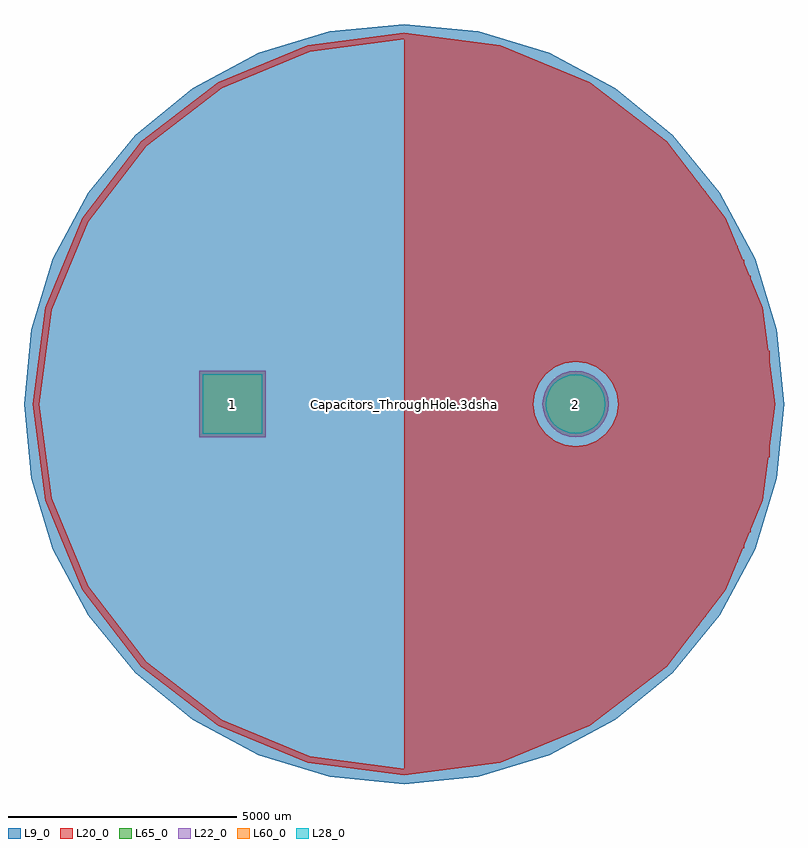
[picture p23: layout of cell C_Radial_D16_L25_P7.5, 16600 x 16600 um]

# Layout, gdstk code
import gdstk
lib = gdstk.Library(unit=1e-6, precision=1e-09)
def R(c, l, rs):  # rectangles x0, y0, x1, y1
    for r in rs: c.add(gdstk.rectangle(r[:2], r[2:], *l))
def P(c, l, *ps):  # polygons
    for p in ps: c.add(gdstk.Polygon(p, *l))
L9_0 = (9, 0)
L20_0 = (20, 0)
L22_0 = (22, 0)
L28_0 = (28, 0)
L60_0 = (60, 0)
L65_0 = (65, 0)

c_radial_d16_l25_p7_5 = lib.new_cell('C_Radial_D16_L25_P7.5')
P(c_radial_d16_l25_p7_5, L9_0, [(12050,0),(11890.518,1619.25),(11418.2,3176.272),(10651.198,4611.233),(9618.986,5868.986),(8361.233,6901.198),(6926.272,7668.2),(5369.25,8140.518),(3750,8300),(2130.75,8140.518),(573.728,7668.2),(-861.233,6901.198),(-2118.986,5868.986),(-3151.198,4611.233),(-3918.2,3176.272),(-4390.518,1619.25),(-4550,0),(-4390.518,-1619.25),(-3918.2,-3176.272),(-3151.198,-4611.233),(-2118.986,-5868.986),(-861.233,-6901.198),(573.728,-7668.2),(2130.75,-8140.518),(3750,-8300),(5369.25,-8140.518),(6926.272,-7668.2),(8361.233,-6901.198),(9618.986,-5868.986),(10651.198,-4611.233),(11418.2,-3176.272),(11890.518,-1619.25)])
R(c_radial_d16_l25_p7_5, L22_0, [(-725,-725,725,725)])
P(c_radial_d16_l25_p7_5, L22_0, [(8225,0),(8211.069,141.44),(8169.813,277.445),(8102.815,402.788),(8012.652,512.652),(7902.788,602.815),(7777.445,669.813),(7641.44,711.069),(7500,725),(7358.56,711.069),(7222.555,669.813),(7097.212,602.815),(6987.348,512.652),(6897.185,402.788),(6830.187,277.445),(6788.931,141.44),(6775,0),(6788.931,-141.44),(6830.187,-277.445),(6897.185,-402.788),(6987.348,-512.652),(7097.212,-602.815),(7222.555,-669.813),(7358.56,-711.069),(7500,-725),(7641.44,-711.069),(7777.445,-669.813),(7902.788,-602.815),(8012.652,-512.652),(8102.815,-402.788),(8169.813,-277.445),(8211.069,-141.44)])
R(c_radial_d16_l25_p7_5, L28_0, [(-650,-650,650,650)])
P(c_radial_d16_l25_p7_5, L28_0, [(8150,0),(8137.51,126.809),(8100.522,248.744),(8040.455,361.121),(7959.619,459.619),(7861.121,540.455),(7748.744,600.522),(7626.809,637.51),(7500,650),(7373.191,637.51),(7251.256,600.522),(7138.879,540.455),(7040.381,459.619),(6959.545,361.121),(6899.478,248.744),(6862.49,126.809),(6850,0),(6862.49,-126.809),(6899.478,-248.744),(6959.545,-361.121),(7040.381,-459.619),(7138.879,-540.455),(7251.256,-600.522),(7373.191,-637.51),(7500,-650),(7626.809,-637.51),(7748.744,-600.522),(7861.121,-540.455),(7959.619,-459.619),(8040.455,-361.121),(8100.522,-248.744),(8137.51,-126.809)])
R(c_radial_d16_l25_p7_5, L60_0, [(-650,-650,650,650)])
P(c_radial_d16_l25_p7_5, L60_0, [(8150,0),(8137.51,126.809),(8100.522,248.744),(8040.455,361.121),(7959.619,459.619),(7861.121,540.455),(7748.744,600.522),(7626.809,637.51),(7500,650),(7373.191,637.51),(7251.256,600.522),(7138.879,540.455),(7040.381,459.619),(6959.545,361.121),(6899.478,248.744),(6862.49,126.809),(6850,0),(6862.49,-126.809),(6899.478,-248.744),(6959.545,-361.121),(7040.381,-459.619),(7138.879,-540.455),(7251.256,-600.522),(7373.191,-637.51),(7500,-650),(7626.809,-637.51),(7748.744,-600.522),(7861.121,-540.455),(7959.619,-459.619),(8040.455,-361.121),(8100.522,-248.744),(8137.51,-126.809)])
R(c_radial_d16_l25_p7_5, L65_0, [(-725,-725,725,725)])
P(c_radial_d16_l25_p7_5, L65_0, [(8225,0),(8211.069,141.44),(8169.813,277.445),(8102.815,402.788),(8012.652,512.652),(7902.788,602.815),(7777.445,669.813),(7641.44,711.069),(7500,725),(7358.56,711.069),(7222.555,669.813),(7097.212,602.815),(6987.348,512.652),(6897.185,402.788),(6830.187,277.445),(6788.931,141.44),(6775,0),(6788.931,-141.44),(6830.187,-277.445),(6897.185,-402.788),(6987.348,-512.652),(7097.212,-602.815),(7222.555,-669.813),(7358.56,-711.069),(7500,-725),(7641.44,-711.069),(7777.445,-669.813),(7902.788,-602.815),(8012.652,-512.652),(8102.815,-402.788),(8169.813,-277.445),(8211.069,-141.44)])
c_radial_d16_l25_p7_5.add(gdstk.FlexPath([(3750,8037.5),(1669.742,7763.629),(-268.75,6960.679),(-1933.371,5683.371),(-3210.679,4018.75),(-4013.629,2080.258),(-4287.5,0),(-4013.629,-2080.258),(-3210.679,-4018.75),(-1933.371,-5683.371),(-268.75,-6960.679),(1669.742,-7763.629),(3750,-8037.5),(5830.258,-7763.629),(7768.75,-6960.679),(9433.371,-5683.371),(10710.679,-4018.75),(11513.629,-2080.258),(11787.5,0),(11513.629,2080.258),(10710.679,4018.75),(9433.371,5683.371),(7768.75,6960.679),(5830.258,7763.629),(3750,8037.5)], 149.998, ends="flush", simple_path=True, layer=20, datatype=0))  # L20_0
c_radial_d16_l25_p7_5.add(gdstk.FlexPath([(7500,1000),(7241.181,965.926),(7000,866.025),(6792.893,707.107),(6633.975,500),(6534.074,258.819),(6500,0),(6534.074,-258.819),(6633.975,-500),(6792.893,-707.107),(7000,-866.025),(7241.181,-965.926),(7500,-1000),(7758.819,-965.926),(8000,-866.025),(8207.107,-707.107),(8366.025,-500),(8465.926,-258.819),(8500,0),(8465.926,258.819),(8366.025,500),(8207.107,707.107),(8000,866.025),(7758.819,965.926),(7500,1000)], 149.998, ends="flush", simple_path=True, layer=20, datatype=0))  # L20_0
c_radial_d16_l25_p7_5.add(gdstk.FlexPath([(11665,1163),(11665,-1163)], 149.998, ends="flush", simple_path=True, layer=20, datatype=0))  # L20_0
c_radial_d16_l25_p7_5.add(gdstk.FlexPath([(11525,1884),(11525,-1884)], 149.998, ends="flush", simple_path=True, layer=20, datatype=0))  # L20_0
c_radial_d16_l25_p7_5.add(gdstk.FlexPath([(11385,2389),(11385,-2389)], 149.998, ends="flush", simple_path=True, layer=20, datatype=0))  # L20_0
c_radial_d16_l25_p7_5.add(gdstk.FlexPath([(11245,2797),(11245,-2797)], 149.998, ends="flush", simple_path=True, layer=20, datatype=0))  # L20_0
c_radial_d16_l25_p7_5.add(gdstk.FlexPath([(11105,3147),(11105,-3147)], 149.998, ends="flush", simple_path=True, layer=20, datatype=0))  # L20_0
c_radial_d16_l25_p7_5.add(gdstk.FlexPath([(10965,3456),(10965,-3456)], 149.998, ends="flush", simple_path=True, layer=20, datatype=0))  # L20_0
c_radial_d16_l25_p7_5.add(gdstk.FlexPath([(10825,3734),(10825,-3734)], 149.998, ends="flush", simple_path=True, layer=20, datatype=0))  # L20_0
c_radial_d16_l25_p7_5.add(gdstk.FlexPath([(10685,3988),(10685,-3988)], 149.998, ends="flush", simple_path=True, layer=20, datatype=0))  # L20_0
c_radial_d16_l25_p7_5.add(gdstk.FlexPath([(10545,4222),(10545,-4222)], 149.998, ends="flush", simple_path=True, layer=20, datatype=0))  # L20_0
c_radial_d16_l25_p7_5.add(gdstk.FlexPath([(10405,4440),(10405,-4440)], 149.998, ends="flush", simple_path=True, layer=20, datatype=0))  # L20_0
c_radial_d16_l25_p7_5.add(gdstk.FlexPath([(10265,4643),(10265,-4643)], 149.998, ends="flush", simple_path=True, layer=20, datatype=0))  # L20_0
c_radial_d16_l25_p7_5.add(gdstk.FlexPath([(10125,4833),(10125,-4833)], 149.998, ends="flush", simple_path=True, layer=20, datatype=0))  # L20_0
c_radial_d16_l25_p7_5.add(gdstk.FlexPath([(9985,5012),(9985,-5012)], 149.998, ends="flush", simple_path=True, layer=20, datatype=0))  # L20_0
c_radial_d16_l25_p7_5.add(gdstk.FlexPath([(9845,5182),(9845,-5182)], 149.998, ends="flush", simple_path=True, layer=20, datatype=0))  # L20_0
c_radial_d16_l25_p7_5.add(gdstk.FlexPath([(9705,5342),(9705,-5342)], 149.998, ends="flush", simple_path=True, layer=20, datatype=0))  # L20_0
c_radial_d16_l25_p7_5.add(gdstk.FlexPath([(9565,5494),(9565,-5494)], 149.998, ends="flush", simple_path=True, layer=20, datatype=0))  # L20_0
c_radial_d16_l25_p7_5.add(gdstk.FlexPath([(9425,5639),(9425,-5639)], 149.998, ends="flush", simple_path=True, layer=20, datatype=0))  # L20_0
c_radial_d16_l25_p7_5.add(gdstk.FlexPath([(9285,5776),(9285,-5776)], 149.998, ends="flush", simple_path=True, layer=20, datatype=0))  # L20_0
c_radial_d16_l25_p7_5.add(gdstk.FlexPath([(9145,5907),(9145,-5907)], 149.998, ends="flush", simple_path=True, layer=20, datatype=0))  # L20_0
c_radial_d16_l25_p7_5.add(gdstk.FlexPath([(9005,6032),(9005,-6032)], 149.998, ends="flush", simple_path=True, layer=20, datatype=0))  # L20_0
c_radial_d16_l25_p7_5.add(gdstk.FlexPath([(8865,6151),(8865,-6151)], 149.998, ends="flush", simple_path=True, layer=20, datatype=0))  # L20_0
c_radial_d16_l25_p7_5.add(gdstk.FlexPath([(8725,6265),(8725,-6265)], 149.998, ends="flush", simple_path=True, layer=20, datatype=0))  # L20_0
c_radial_d16_l25_p7_5.add(gdstk.FlexPath([(8585,6374),(8585,-6374)], 149.998, ends="flush", simple_path=True, layer=20, datatype=0))  # L20_0
c_radial_d16_l25_p7_5.add(gdstk.FlexPath([(8445,-327),(8445,-6477)], 149.998, ends="flush", simple_path=True, layer=20, datatype=0))  # L20_0
c_radial_d16_l25_p7_5.add(gdstk.FlexPath([(8445,6477),(8445,327)], 149.998, ends="flush", simple_path=True, layer=20, datatype=0))  # L20_0
c_radial_d16_l25_p7_5.add(gdstk.FlexPath([(8305,-593),(8305,-6577)], 149.998, ends="flush", simple_path=True, layer=20, datatype=0))  # L20_0
c_radial_d16_l25_p7_5.add(gdstk.FlexPath([(8305,6577),(8305,593)], 149.998, ends="flush", simple_path=True, layer=20, datatype=0))  # L20_0
c_radial_d16_l25_p7_5.add(gdstk.FlexPath([(8165,-747),(8165,-6671)], 149.998, ends="flush", simple_path=True, layer=20, datatype=0))  # L20_0
c_radial_d16_l25_p7_5.add(gdstk.FlexPath([(8165,6671),(8165,747)], 149.998, ends="flush", simple_path=True, layer=20, datatype=0))  # L20_0
c_radial_d16_l25_p7_5.add(gdstk.FlexPath([(8025,-851),(8025,-6762)], 149.998, ends="flush", simple_path=True, layer=20, datatype=0))  # L20_0
c_radial_d16_l25_p7_5.add(gdstk.FlexPath([(8025,6762),(8025,851)], 149.998, ends="flush", simple_path=True, layer=20, datatype=0))  # L20_0
c_radial_d16_l25_p7_5.add(gdstk.FlexPath([(7885,-923),(7885,-6848)], 149.998, ends="flush", simple_path=True, layer=20, datatype=0))  # L20_0
c_radial_d16_l25_p7_5.add(gdstk.FlexPath([(7885,6848),(7885,923)], 149.998, ends="flush", simple_path=True, layer=20, datatype=0))  # L20_0
c_radial_d16_l25_p7_5.add(gdstk.FlexPath([(7745,-970),(7745,-6931)], 149.998, ends="flush", simple_path=True, layer=20, datatype=0))  # L20_0
c_radial_d16_l25_p7_5.add(gdstk.FlexPath([(7745,6931),(7745,970)], 149.998, ends="flush", simple_path=True, layer=20, datatype=0))  # L20_0
c_radial_d16_l25_p7_5.add(gdstk.FlexPath([(7605,-994),(7605,-7010)], 149.998, ends="flush", simple_path=True, layer=20, datatype=0))  # L20_0
c_radial_d16_l25_p7_5.add(gdstk.FlexPath([(7605,7010),(7605,994)], 149.998, ends="flush", simple_path=True, layer=20, datatype=0))  # L20_0
c_radial_d16_l25_p7_5.add(gdstk.FlexPath([(7465,-999),(7465,-7085)], 149.998, ends="flush", simple_path=True, layer=20, datatype=0))  # L20_0
c_radial_d16_l25_p7_5.add(gdstk.FlexPath([(7465,7085),(7465,999)], 149.998, ends="flush", simple_path=True, layer=20, datatype=0))  # L20_0
c_radial_d16_l25_p7_5.add(gdstk.FlexPath([(7325,-985),(7325,-7157)], 149.998, ends="flush", simple_path=True, layer=20, datatype=0))  # L20_0
c_radial_d16_l25_p7_5.add(gdstk.FlexPath([(7325,7157),(7325,985)], 149.998, ends="flush", simple_path=True, layer=20, datatype=0))  # L20_0
c_radial_d16_l25_p7_5.add(gdstk.FlexPath([(7185,-949),(7185,-7225)], 149.998, ends="flush", simple_path=True, layer=20, datatype=0))  # L20_0
c_radial_d16_l25_p7_5.add(gdstk.FlexPath([(7185,7225),(7185,949)], 149.998, ends="flush", simple_path=True, layer=20, datatype=0))  # L20_0
c_radial_d16_l25_p7_5.add(gdstk.FlexPath([(7045,-890),(7045,-7290)], 149.998, ends="flush", simple_path=True, layer=20, datatype=0))  # L20_0
c_radial_d16_l25_p7_5.add(gdstk.FlexPath([(7045,7290),(7045,890)], 149.998, ends="flush", simple_path=True, layer=20, datatype=0))  # L20_0
c_radial_d16_l25_p7_5.add(gdstk.FlexPath([(6905,-804),(6905,-7352)], 149.998, ends="flush", simple_path=True, layer=20, datatype=0))  # L20_0
c_radial_d16_l25_p7_5.add(gdstk.FlexPath([(6905,7352),(6905,804)], 149.998, ends="flush", simple_path=True, layer=20, datatype=0))  # L20_0
c_radial_d16_l25_p7_5.add(gdstk.FlexPath([(6765,-678),(6765,-7410)], 149.998, ends="flush", simple_path=True, layer=20, datatype=0))  # L20_0
c_radial_d16_l25_p7_5.add(gdstk.FlexPath([(6765,7410),(6765,678)], 149.998, ends="flush", simple_path=True, layer=20, datatype=0))  # L20_0
c_radial_d16_l25_p7_5.add(gdstk.FlexPath([(6625,-484),(6625,-7466)], 149.998, ends="flush", simple_path=True, layer=20, datatype=0))  # L20_0
c_radial_d16_l25_p7_5.add(gdstk.FlexPath([(6625,7466),(6625,484)], 149.998, ends="flush", simple_path=True, layer=20, datatype=0))  # L20_0
c_radial_d16_l25_p7_5.add(gdstk.FlexPath([(6485,7518),(6485,-7518)], 149.998, ends="flush", simple_path=True, layer=20, datatype=0))  # L20_0
c_radial_d16_l25_p7_5.add(gdstk.FlexPath([(6345,7567),(6345,-7567)], 149.998, ends="flush", simple_path=True, layer=20, datatype=0))  # L20_0
c_radial_d16_l25_p7_5.add(gdstk.FlexPath([(6205,7614),(6205,-7614)], 149.998, ends="flush", simple_path=True, layer=20, datatype=0))  # L20_0
c_radial_d16_l25_p7_5.add(gdstk.FlexPath([(6065,7658),(6065,-7658)], 149.998, ends="flush", simple_path=True, layer=20, datatype=0))  # L20_0
c_radial_d16_l25_p7_5.add(gdstk.FlexPath([(5925,7699),(5925,-7699)], 149.998, ends="flush", simple_path=True, layer=20, datatype=0))  # L20_0
c_radial_d16_l25_p7_5.add(gdstk.FlexPath([(5785,7737),(5785,-7737)], 149.998, ends="flush", simple_path=True, layer=20, datatype=0))  # L20_0
c_radial_d16_l25_p7_5.add(gdstk.FlexPath([(5645,7772),(5645,-7772)], 149.998, ends="flush", simple_path=True, layer=20, datatype=0))  # L20_0
c_radial_d16_l25_p7_5.add(gdstk.FlexPath([(5505,7805),(5505,-7805)], 149.998, ends="flush", simple_path=True, layer=20, datatype=0))  # L20_0
c_radial_d16_l25_p7_5.add(gdstk.FlexPath([(5365,7835),(5365,-7835)], 149.998, ends="flush", simple_path=True, layer=20, datatype=0))  # L20_0
c_radial_d16_l25_p7_5.add(gdstk.FlexPath([(5225,7863),(5225,-7863)], 149.998, ends="flush", simple_path=True, layer=20, datatype=0))  # L20_0
c_radial_d16_l25_p7_5.add(gdstk.FlexPath([(5085,7888),(5085,-7888)], 149.998, ends="flush", simple_path=True, layer=20, datatype=0))  # L20_0
c_radial_d16_l25_p7_5.add(gdstk.FlexPath([(4945,7910),(4945,-7910)], 149.998, ends="flush", simple_path=True, layer=20, datatype=0))  # L20_0
c_radial_d16_l25_p7_5.add(gdstk.FlexPath([(4805,7930),(4805,-7930)], 149.998, ends="flush", simple_path=True, layer=20, datatype=0))  # L20_0
c_radial_d16_l25_p7_5.add(gdstk.FlexPath([(4665,7948),(4665,-7948)], 149.998, ends="flush", simple_path=True, layer=20, datatype=0))  # L20_0
c_radial_d16_l25_p7_5.add(gdstk.FlexPath([(4525,7962),(4525,-7962)], 149.998, ends="flush", simple_path=True, layer=20, datatype=0))  # L20_0
c_radial_d16_l25_p7_5.add(gdstk.FlexPath([(4385,7975),(4385,-7975)], 149.998, ends="flush", simple_path=True, layer=20, datatype=0))  # L20_0
c_radial_d16_l25_p7_5.add(gdstk.FlexPath([(4245,7985),(4245,-7985)], 149.998, ends="flush", simple_path=True, layer=20, datatype=0))  # L20_0
c_radial_d16_l25_p7_5.add(gdstk.FlexPath([(4105,7992),(4105,-7992)], 149.998, ends="flush", simple_path=True, layer=20, datatype=0))  # L20_0
c_radial_d16_l25_p7_5.add(gdstk.FlexPath([(3965,7997),(3965,-7997)], 149.998, ends="flush", simple_path=True, layer=20, datatype=0))  # L20_0
c_radial_d16_l25_p7_5.add(gdstk.FlexPath([(3825,8000),(3825,-8000)], 149.998, ends="flush", simple_path=True, layer=20, datatype=0))  # L20_0
c_radial_d16_l25_p7_5.add(gdstk.Label('Capacitors_ThroughHole.3dshapes/C_Radial_D16_L25_P7.5.wrl', (3750,0), layer=12, texttype=0))
c_radial_d16_l25_p7_5.add(gdstk.Label('2', (7500,0), layer=28, texttype=0))
c_radial_d16_l25_p7_5.add(gdstk.Label('1', (0,0), layer=28, texttype=0))
c_radial_d16_l25_p7_5.add(gdstk.Label('type', (3750,-9300), layer=9, texttype=0))
c_radial_d16_l25_p7_5.add(gdstk.Label('devicename', (3750,9300), layer=9, texttype=0))

lib.write_gds('C_Radial_D16_L25_P7.5.gds')
